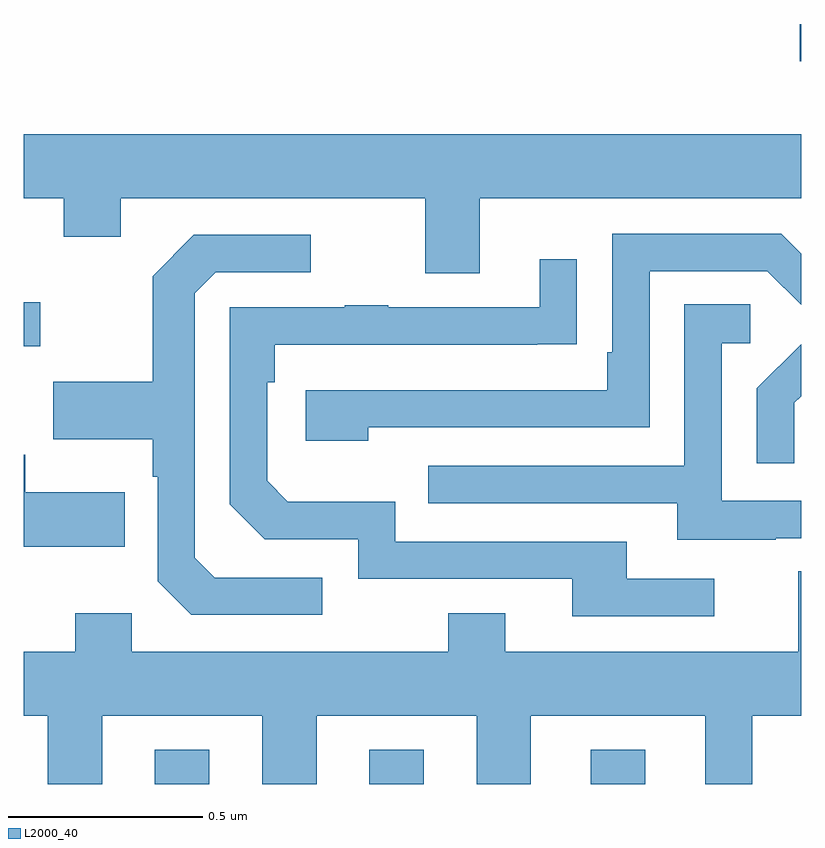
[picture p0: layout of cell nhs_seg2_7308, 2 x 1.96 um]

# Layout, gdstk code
import gdstk
lib = gdstk.Library(unit=1e-6, precision=1e-09)
def R(c, l, rs):  # rectangles x0, y0, x1, y1
    for r in rs: c.add(gdstk.rectangle(r[:2], r[2:], *l))
def P(c, l, *ps):  # polygons
    for p in ps: c.add(gdstk.Polygon(p, *l))
L2000_40 = (2000, 40)

nhs_seg2_7308 = lib.new_cell('nhs_seg2_7308')
R(nhs_seg2_7308, L2000_40, [(202.337,640.8,202.477,640.888), (202.889,640.8,203.029,640.888), (203.459,640.8,203.599,640.888), (202,641.927,202.042,642.04), (203.997,642.66,204,642.756)])
P(nhs_seg2_7308, L2000_40, [(203.173,642.308),(204,642.308),(204,642.472),(202,642.472),(202,642.308),(202.102,642.308),(202.102,642.209),(202.249,642.209),(202.249,642.308),(203.033,642.308),(203.033,642.114),(203.173,642.114)],
  [(202.886,641.718),(203.61,641.718),(203.61,642.12),(203.913,642.12),(204,642.033),(204,642.165),(203.949,642.216),(203.514,642.216),(203.514,641.911),(203.501,641.911),(203.501,641.814),(202.725,641.814),(202.725,641.684),(202.886,641.684)],
  [(202.768,641.331),(202.491,641.331),(202.44,641.382),(202.44,642.063),(202.494,642.117),(202.738,642.117),(202.738,642.213),(202.437,642.213),(202.332,642.107),(202.332,641.835),(202.075,641.835),(202.075,641.687),(202.332,641.687),(202.332,641.591),(202.344,641.591),(202.344,641.322),(202.431,641.235),(202.768,641.235)],
  [(203.776,641.328),(203.551,641.328),(203.551,641.424),(202.956,641.424),(202.956,641.527),(202.679,641.527),(202.626,641.58),(202.626,641.834),(202.646,641.834),(202.646,641.931),(203.321,641.931),(203.321,641.932),(203.423,641.932),(203.423,642.151),(203.327,642.151),(203.327,642.027),(202.937,642.027),(202.937,642.032),(202.825,642.032),(202.825,642.027),(202.53,642.027),(202.53,641.52),(202.62,641.43),(202.86,641.43),(202.86,641.328),(203.411,641.328),(203.411,641.232),(203.776,641.232)],
  [(203.935,641.433),(204,641.433),(204,641.529),(203.796,641.529),(203.796,641.934),(203.869,641.934),(203.869,642.035),(203.7,642.035),(203.7,641.619),(203.041,641.619),(203.041,641.523),(203.681,641.523),(203.681,641.429),(203.935,641.429)],
  [(203.983,641.781),(204,641.798),(204,641.932),(203.886,641.818),(203.886,641.625),(203.983,641.625)],
  [(202.259,641.551),(202.003,641.551),(202.003,641.647),(202,641.647),(202,641.411),(202.259,641.411)],
  [(202.201,640.976),(202.613,640.976),(202.613,640.8),(202.753,640.8),(202.753,640.976),(203.165,640.976),(203.165,640.8),(203.304,640.8),(203.304,640.976),(203.753,640.976),(203.753,640.8),(203.875,640.8),(203.875,640.976),(204,640.976),(204,641.348),(203.993,641.348),(203.993,641.14),(203.239,641.14),(203.239,641.239),(203.092,641.239),(203.092,641.14),(202.278,641.14),(202.278,641.239),(202.132,641.239),(202.132,641.14),(202,641.14),(202,640.976),(202.061,640.976),(202.061,640.8),(202.201,640.8)])

lib.write_gds('nhs_seg2_7308.gds')
